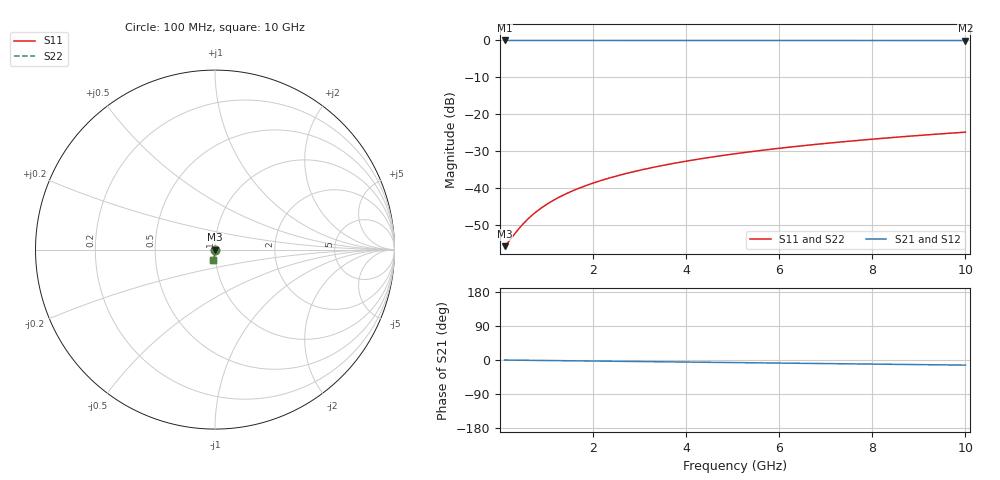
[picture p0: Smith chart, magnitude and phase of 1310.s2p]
# Hz S RI R 50.00
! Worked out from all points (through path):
!   100 points, 100 MHz to 10 GHz, reference 50 ohm
!   highest |S21| = -0.01 dB at 100 MHz (marker M1); lowest = 0.0 dB at 10 GHz (marker M2)
!   group delay of S21, straight-line fit = 3.75 ps
!   lowest |S11| = -55.9 dB at 100 MHz (marker M3), VSWR 1.00, Z = 50.2 - j0.0578 ohm
!   |S11| at or under -10 dB: start of sweep to end of sweep
!   |S22| runs from -55.9 to -24.9 dB; largest |S21 - S12| = 0
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1e8  0.0015 -0.000576  0.9985 -0.00235  0.9985 -0.00235  0.0015 -0.000576
2e8  0.00151 -0.00115  0.9985 -0.0047  0.9985 -0.0047  0.00151 -0.00115
4e8  0.0015 -0.00231  0.9984 -0.00941  0.9984 -0.00941  0.0015 -0.00231
5e8  0.00149 -0.00288  0.9984 -0.0118  0.9984 -0.0118  0.00149 -0.00288
6e8  0.00148 -0.00346  0.9983 -0.0141  0.9983 -0.0141  0.00148 -0.00346
7e8  0.00147 -0.00403  0.9983 -0.0165  0.9983 -0.0165  0.00147 -0.00403
8e8  0.00145 -0.00461  0.9983 -0.0188  0.9983 -0.0188  0.00145 -0.00461
1e9  0.00141 -0.00576  0.9981 -0.0235  0.9981 -0.0235  0.00141 -0.00576
1.2e9  0.00135 -0.00691  0.998 -0.0282  0.998 -0.0282  0.00135 -0.00691
1.5e9  0.00124 -0.00864  0.9977 -0.0353  0.9977 -0.0353  0.00124 -0.00864
1.8e9  0.00111 -0.0104  0.9974 -0.0423  0.9974 -0.0423  0.00111 -0.0104
2.1e9  0.000959 -0.0121  0.9971 -0.0494  0.9971 -0.0494  0.000959 -0.0121
2.5e9  0.000714 -0.0144  0.9965 -0.0588  0.9965 -0.0588  0.000714 -0.0144
2.9e9  0.000425 -0.0167  0.9959 -0.0681  0.9959 -0.0681  0.000425 -0.0167
3.4e9  3.23e-06 -0.0195  0.9949 -0.0799  0.9949 -0.0799  3.23e-06 -0.0195
4.2e9  -0.000812 -0.0241  0.9931 -0.0986  0.9931 -0.0986  -0.000812 -0.0241
5.1e9  -0.00193 -0.0291  0.9907 -0.1196  0.9907 -0.1196  -0.00193 -0.0291
5.9e9  -0.00311 -0.0336  0.9881 -0.1382  0.9881 -0.1382  -0.00311 -0.0336
6.7e9  -0.00445 -0.038  0.9851 -0.1568  0.9851 -0.1568  -0.00445 -0.038
7.5e9  -0.00596 -0.0424  0.9818 -0.1753  0.9818 -0.1753  -0.00596 -0.0424
8.4e9  -0.00785 -0.0472  0.9776 -0.196  0.9776 -0.196  -0.00785 -0.0472
1e10  -0.0117 -0.0556  0.969 -0.2326  0.969 -0.2326  -0.0117 -0.0556
